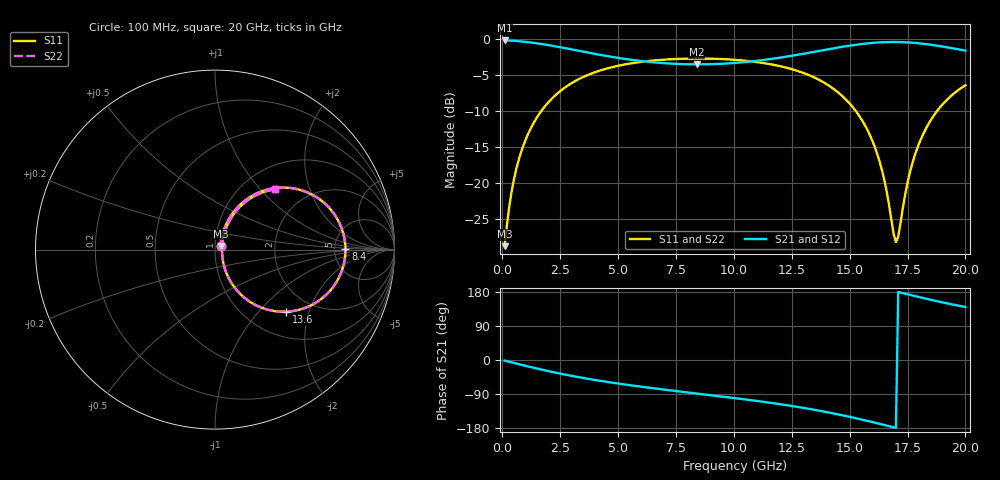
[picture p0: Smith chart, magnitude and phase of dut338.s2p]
! Touchstone file exported from HFSS 2026.1.0
!  File:  C:/ffzhzh/LocalFiles/Ansys_Project_Files/temp_train_TSV_RDL_338_1783034332_51716.aedt
!  Generated:  07:39:50 AM Jul  3, 2026
!  Design:  TSV_RDL
!  Project:  temp_train_TSV_RDL_338_1783034332_51716
! Variables:
!  h_bsmrdl = 3.45um
!  h_ox = 20um
!  h_rdl = 5um
!  h_sub = 68.14um
!  h_tmrdl = 3.68um
!  h_tsv = 68.14um
!  h_via = 3um
!  l_bsmrdl = 915.11um
!  l_sub = 3659.25um
!  l_tmrdl = 112.01um
!  m_sub = 200um
!  pitch = 57.06um
!  r_tsv = 4.35um
!  s_tmrdl = 10um
!  w_bsmrdl = 11.91um
!  w_sub = 500um
!  w_tmrdl = 10.05um
!  x_tsv_center1 = 117.035um
!  x_tsv_center2 = 1044.055um
!  x_tsv_center3 = 1166.115um
!  x_tsv_center4 = 2093.135um
!  x_tsv_center5 = 2215.195um
!  x_tsv_center6 = 3142.215um
# GHz S MA R 50.000000
! Terminal data exported
! Port[1] = TM_RDL1_1_T1
! Port[2] = TM_RDL5_1_T1
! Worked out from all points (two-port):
!   200 points, 100 MHz to 20 GHz, reference 50 ohm
!   highest |S21| = -0.27 dB at 100 MHz (marker M1); lowest = -3.6 dB at 8.4 GHz (marker M2)
!   |S21| within 3 dB of the highest: start of sweep to 6.442 GHz; 10.46 GHz to end of sweep
!   lowest |S11| = -28.8 dB at 100 MHz (marker M3), VSWR 1.08, Z = 53.1 + j2.09 ohm
!   |S11| at or under -10 dB: start of sweep to 1.694 GHz; 15.26 GHz to 18.79 GHz (3.53 GHz wide, 20.7 % of centre)
!   |S22| runs from -28.8 to -2.8 dB; largest |S21 - S12| = 1.8e-14
!   S11 on the Smith chart (normalised r, x): 100 MHz: 1.06, +0.04; 8.4 GHz: 6.32, +0.10; 13.6 GHz: 1.49, -1.43; 20 GHz: 1.40, +1.21
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0.1  0.03652 32.5  0.9696 -1.6  0.9696 -1.6  0.03652 32.5
! Gamma 0 0 0 0
! Port Impedance 50 0 50 0
0.3  0.06833 58.5  0.9674 -4.7  0.9674 -4.7  0.06833 58.5
0.5  0.1054 64.8  0.9635 -7.8  0.9635 -7.8  0.1054 64.8
1.1  0.2158 64.5  0.9444 -16.8  0.9444 -16.8  0.2158 64.5
2.1  0.3778 54.4  0.8943 -30.8  0.8943 -30.8  0.3778 54.4
3.5  0.542 39.3  0.8105 -47.5  0.8105 -47.5  0.542 39.3
5.1  0.6526 24.7  0.7301 -63.0  0.7301 -63.0  0.6526 24.7
6.8  0.7102 11.6  0.6785 -76.7  0.6785 -76.7  0.7102 11.6
8.4  0.7269 0.3  0.6625 -88.4  0.6625 -88.4  0.7269 0.3
10.1  0.7109 -11.7  0.6786 -101.0  0.6786 -101.0  0.7108 -11.7
13.4  0.5443 -39.2  0.8052 -130.5  0.8052 -130.5  0.5443 -39.2
13.6  0.5255 -41.2  0.8161 -132.7  0.8161 -132.7  0.5255 -41.2
14.7  0.3976 -52.7  0.8768 -146.0  0.8768 -146.0  0.3976 -52.6
15.6  0.2612 -61.6  0.9192 -158.2  0.9192 -158.2  0.2612 -61.5
16.2  0.1576 -64.3  0.938 -167.0  0.938 -167.0  0.1576 -64.2
16.7  0.07098 -52.6  0.9456 -174.5  0.9456 -174.5  0.07111 -52.4
17  0.03904 -3.6  0.9461 -179.0  0.9461 -179.0  0.03933 -3.5
17.1  0.04245 21.6  0.9456 179.5  0.9456 179.5  0.04274 21.5
17.6  0.1176 61.6  0.938 172.0  0.938 172.0  0.1178 61.4
18.1  0.2049 62.8  0.9227 164.6  0.9227 164.6  0.205 62.8
18.9  0.3333 56.3  0.8863 153.5  0.8863 153.5  0.3334 56.2
20  0.475 45.0  0.8246 139.8  0.8246 139.8  0.475 45.0
